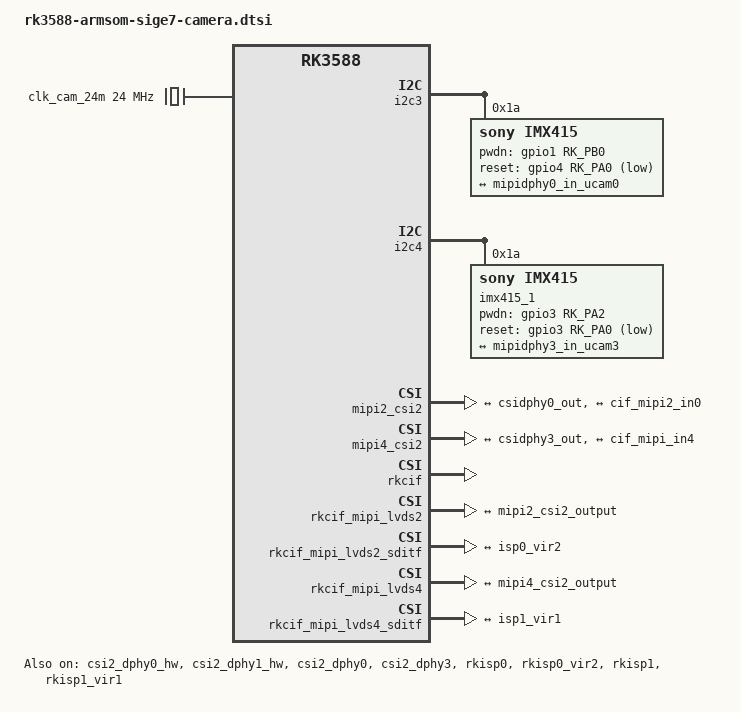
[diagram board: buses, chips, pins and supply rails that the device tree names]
// SPDX-License-Identifier: (GPL-2.0+ OR MIT)
/*
 * Copyright (c) 2022 Rockchip Electronics Co., Ltd.
 *
 */

/ {
	clk_cam_24m: external-camera-clock-24m {
		status = "okay";
		compatible = "fixed-clock";
		clock-frequency = <24000000>;
		clock-output-names = "clk_cam_24m";
		#clock-cells = <0>;
	};
};

&i2c3 {
	status = "okay";

	imx415: imx415@1a {
		status = "okay";
		compatible = "sony,imx415";
		reg = <0x1a>;
		clocks = <&cru CLK_MIPI_CAMARAOUT_M3>;
		clock-names = "xvclk";
		pinctrl-names = "default";
		pinctrl-0 = <&mipim0_camera3_clk>;
		power-domains = <&power RK3588_PD_VI>;
		pwdn-gpios = <&gpio1 RK_PB0 GPIO_ACTIVE_HIGH>;
		reset-gpios = <&gpio4 RK_PA0 GPIO_ACTIVE_LOW>;
		rockchip,camera-module-index = <0>;
		rockchip,camera-module-facing = "back";
		rockchip,camera-module-name = "CMK-OT2022-PX1";
		rockchip,camera-module-lens-name = "IR0147-50IRC-8M-F20";
		port {
			imx415_out0: endpoint {
				remote-endpoint = <&mipidphy0_in_ucam0>;
				data-lanes = <1 2 3 4>;
			};
		};
	};
};

&i2c4 {
	status = "okay";
	pinctrl-names = "default";
	pinctrl-0 = <&i2c4m1_xfer>;
	imx415_1: imx415_1@1a {
		status = "okay";
		compatible = "sony,imx415";
		reg = <0x1a>;
		clocks = <&cru CLK_MIPI_CAMARAOUT_M2>;
		clock-names = "xvclk";
		pinctrl-names = "default";
		pinctrl-0 = <&mipim0_camera2_clk>;
		power-domains = <&power RK3588_PD_VI>;
		pwdn-gpios = <&gpio3 RK_PA2 GPIO_ACTIVE_HIGH>;
		reset-gpios = <&gpio3 RK_PA0 GPIO_ACTIVE_LOW>;
		rockchip,camera-module-index = <1>;
		rockchip,camera-module-facing = "back";
		rockchip,camera-module-name = "CMK-OT2022-PX1";
		rockchip,camera-module-lens-name = "IR0147-50IRC-8M-F20";
		port {
			imx415_out3: endpoint {
				remote-endpoint = <&mipidphy3_in_ucam3>;
				data-lanes = <1 2 3 4>;
			};
		};
	};

};

&csi2_dphy0_hw {
	status = "okay";
};

&csi2_dphy1_hw {
	status = "okay";
};

&csi2_dphy0 {
	status = "okay";

	ports {
		#address-cells = <1>;
		#size-cells = <0>;

		port@0 {
			reg = <0>;
			#address-cells = <1>;
			#size-cells = <0>;

			mipidphy0_in_ucam0: endpoint@1 {
				reg = <1>;
				remote-endpoint = <&imx415_out0>;
				data-lanes = <1 2 3 4>;
			};

		};

		port@1 {
			reg = <1>;
			#address-cells = <1>;
			#size-cells = <0>;

			csidphy0_out: endpoint@0 {
				reg = <0>;
				remote-endpoint = <&mipi2_csi2_input>;
			};
		};
	};
};

&csi2_dphy3 {
	status = "okay";

	ports {
		#address-cells = <1>;
		#size-cells = <0>;

		port@0 {
			reg = <0>;
			#address-cells = <1>;
			#size-cells = <0>;

			mipidphy3_in_ucam3: endpoint@1 {
				reg = <1>;
				remote-endpoint = <&imx415_out3>;
				data-lanes = <1 2 3 4>;
			};

		};

		port@1 {
			reg = <1>;
			#address-cells = <1>;
			#size-cells = <0>;

			csidphy3_out: endpoint@0 {
				reg = <0>;
				remote-endpoint = <&mipi4_csi2_input>;
			};
		};
	};
};

&mipi2_csi2 {
	status = "okay";

	ports {
		#address-cells = <1>;
		#size-cells = <0>;

		port@0 {
			reg = <0>;
			#address-cells = <1>;
			#size-cells = <0>;

			mipi2_csi2_input: endpoint@1 {
				reg = <1>;
				remote-endpoint = <&csidphy0_out>;
			};
		};

		port@1 {
			reg = <1>;
			#address-cells = <1>;
			#size-cells = <0>;

			mipi2_csi2_output: endpoint@0 {
				reg = <0>;
				remote-endpoint = <&cif_mipi2_in0>;
			};
		};
	};
};

&mipi4_csi2 {
	status = "okay";

	ports {
		#address-cells = <1>;
		#size-cells = <0>;

		port@0 {
			reg = <0>;
			#address-cells = <1>;
			#size-cells = <0>;

			mipi4_csi2_input: endpoint@1 {
				reg = <1>;
				remote-endpoint = <&csidphy3_out>;
			};
		};

		port@1 {
			reg = <1>;
			#address-cells = <1>;
			#size-cells = <0>;

			mipi4_csi2_output: endpoint@0 {
				reg = <0>;
				remote-endpoint = <&cif_mipi_in4>;
			};
		};
	};
};

&rkcif {
	status = "okay";
};

&rkcif_mipi_lvds2 {
	status = "okay";

	port {
		cif_mipi2_in0: endpoint {
			remote-endpoint = <&mipi2_csi2_output>;
		};
	};
};

&rkcif_mipi_lvds2_sditf {
	status = "okay";

	port {
		mipi_lvds2_sditf: endpoint {
			remote-endpoint = <&isp0_vir2>;
		};
	};
};

&rkcif_mipi_lvds4 {
	status = "okay";

	port {
		cif_mipi_in4: endpoint {
			remote-endpoint = <&mipi4_csi2_output>;
		};
	};
};

&rkcif_mipi_lvds4_sditf {
	status = "okay";

	port {
		mipi4_lvds_sditf: endpoint {
			remote-endpoint = <&isp1_vir1>;
		};
	};
};

&rkcif_mmu {
	status = "okay";
};

&rkisp0 {
	status = "okay";
};

&isp0_mmu {
	status = "okay";
};

&rkisp0_vir2 {
	status = "okay";

	port {
		#address-cells = <1>;
		#size-cells = <0>;

		isp0_vir2: endpoint@0 {
			reg = <0>;
			remote-endpoint = <&mipi_lvds2_sditf>;
		};
	};
};

&rkisp1 {
	status = "okay";
};

&isp1_mmu {
	status = "okay";
};

&rkisp1_vir1 {
	status = "okay";

	port {
		#address-cells = <1>;
		#size-cells = <0>;

		isp1_vir1: endpoint@0 {
			reg = <0>;
			remote-endpoint = <&mipi4_lvds_sditf>;
		};
	};
};


&pinctrl {
	camera {
		cam_pwdn_gpio: cam-pwdn-gpio {
			rockchip,pins = <1 RK_PB0 RK_FUNC_GPIO &pcfg_pull_up>;
		};
	};
};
